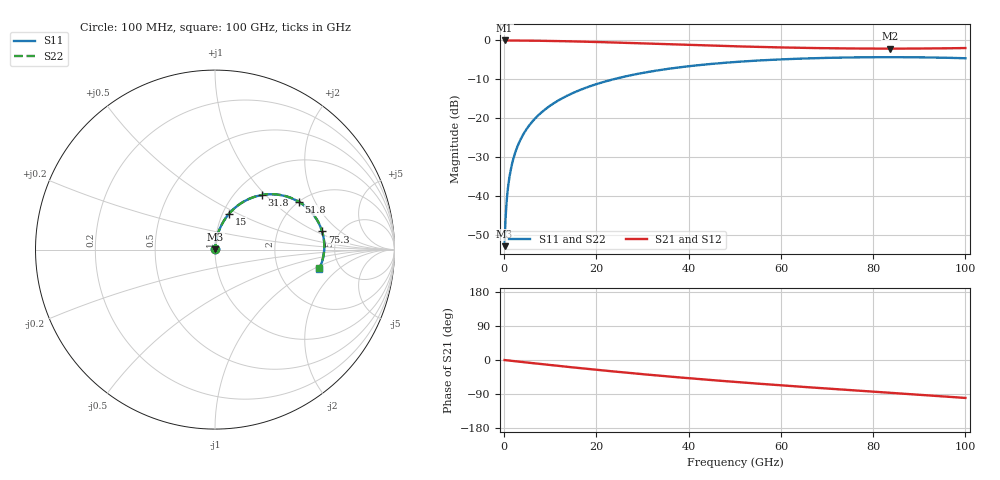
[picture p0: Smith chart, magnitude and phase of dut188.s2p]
! Touchstone file exported from HFSS 2026.1.0
!  File:  C:/ffzhzh/LocalFiles/Ansys_Project_Files/temp_train_RDL_188_1783500504_44152.aedt
!  Generated:  04:49:27 PM Jul  8, 2026
!  Design:  RDL
!  Project:  temp_train_RDL_188_1783500504_44152
! Variables:
!  h_bsmrdl = 2um
!  h_ox = 20um
!  h_rdl = 5um
!  h_sub = 80um
!  h_tmrdl = 3.96um
!  h_tsv = 80um
!  h_via = 3um
!  l_bsmrdl = 300um
!  l_sub = 725.07um
!  l_tmrdl = 325.07um
!  m_sub = 200um
!  pitch = 52.36um
!  r_tsv = 6um
!  s_tmrdl = 10um
!  w_bsmrdl = 18um
!  w_sub = 500um
!  w_tmrdl = 19.8um
!  x_tsv_center1 = 334.97um
!  x_tsv_center2 = 652.97um
!  x_tsv_center3 = 997.84um
!  x_tsv_center4 = 1315.84um
!  x_tsv_center5 = 1660.71um
!  x_tsv_center6 = 1978.71um
# GHz S MA R 50.000000
! Terminal data exported
! Port[1] = TM_RDL1_1_T1
! Port[2] = TM_RDL1_1_T2
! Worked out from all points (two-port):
!   1000 points, 100 MHz to 100 GHz, reference 50 ohm
!   highest |S21| = -0.01 dB at 100 MHz (marker M1); lowest = -2.1 dB at 83.7 GHz (marker M2)
!   |S21| within 3 dB of the highest: start of sweep to end of sweep
!   lowest |S11| = -52.7 dB at 100 MHz (marker M3), VSWR 1.00, Z = 50.2 + j0.163 ohm
!   |S11| at or under -10 dB: start of sweep to 23.58 GHz
!   |S22| runs from -52.7 to -4.3 dB; largest |S21 - S12| = 7.4e-15
!   S11 on the Smith chart (normalised r, x): 100 MHz: 1.00, +0.00; 15 GHz: 1.07, +0.45; 31.8 GHz: 1.31, +0.95; 51.8 GHz: 2.00, +1.50; 75.3 GHz: 3.66, +1.17; 100 GHz: 3.47, -1.15
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0.1  0.002307 44.7  0.9984 -0.1  0.9984 -0.1  0.002307 44.7
! Gamma 0 0 0 0
! Port Impedance 50 0 50 0
0.4  0.006544 73.1  0.9981 -0.6  0.9981 -0.6  0.006544 73.1
0.8  0.01247 79.8  0.9979 -1.1  0.9979 -1.1  0.01247 79.8
1.3  0.01996 82.2  0.9977 -1.8  0.9977 -1.8  0.01996 82.2
1.8  0.02748 83.0  0.9974 -2.4  0.9974 -2.4  0.02748 83.0
2.3  0.03499 83.1  0.9971 -3.1  0.9971 -3.1  0.03499 83.1
3.6  0.0544 82.2  0.9958 -4.9  0.9958 -4.9  0.0544 82.2
5.5  0.0823 80.2  0.9931 -7.4  0.9931 -7.4  0.0823 80.2
8  0.1181 77.2  0.9886 -10.7  0.9886 -10.7  0.1181 77.2
11.1  0.1611 73.4  0.9817 -14.7  0.9817 -14.7  0.1611 73.5
15  0.213 68.7  0.971 -19.6  0.971 -19.6  0.213 68.8
16.8  0.2359 66.6  0.9654 -21.9  0.9654 -21.9  0.2359 66.6
23.6  0.3165 58.6  0.9413 -30.1  0.9413 -30.1  0.3165 58.7
31.8  0.3994 49.5  0.9088 -39.4  0.9088 -39.4  0.3994 49.6
33.4  0.4137 47.7  0.9024 -41.1  0.9024 -41.1  0.4137 47.9
50.1  0.5289 31.2  0.8404 -57.8  0.8404 -57.8  0.5289 31.4
51.8  0.5374 29.7  0.835 -59.4  0.835 -59.4  0.5374 29.8
66.7  0.5903 16.7  0.799 -72.5  0.799 -72.5  0.5903 16.9
75.3  0.6051 9.6  0.788 -79.7  0.788 -79.7  0.6051 9.9
83.4  0.6097 3.1  0.7844 -86.3  0.7844 -86.3  0.6097 3.4
83.7  0.6097 2.8  0.7844 -86.6  0.7844 -86.6  0.6097 3.1
100  0.5906 -10.5  0.7979 -100.1  0.7979 -100.1  0.5907 -10.2
